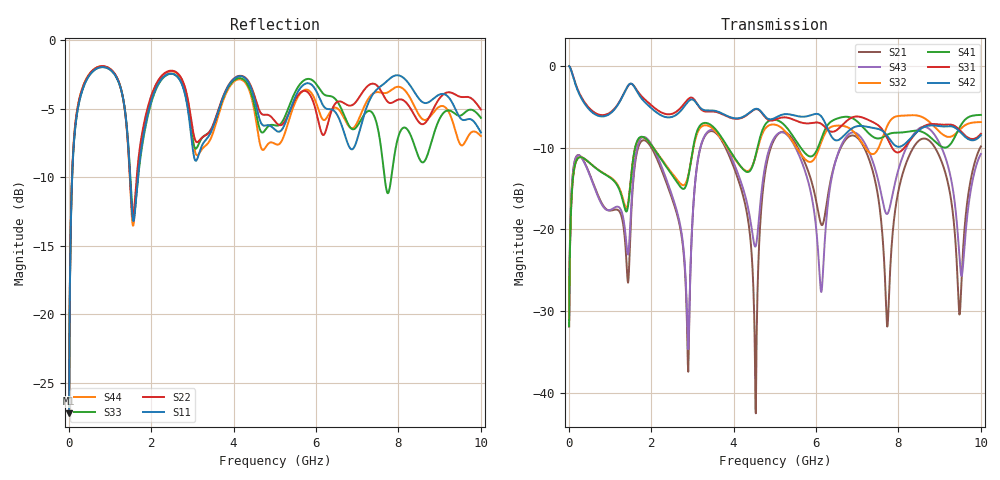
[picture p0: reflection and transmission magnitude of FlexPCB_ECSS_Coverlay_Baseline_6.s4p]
! TOUCHSTONE file generated by CST MICROWAVE STUDIO
! Date and time: Sun Jul  5 19:09:33 2026
! Project name: FlexPCB_ECSS_Coverlay_Baseline.cst
! Parameters = {Gap=0.4; GroundW=4.8; Hadh=0.025; Hcov=0.025; Hsub=0.1; L=50; Tcu=0.035; W=0.24}
! Header version: 2024
! Port assignment regex: !\s*Touchstone port\s*([0-9]+)\s*=\s*(CST MWS port|CST DES external port|CST DES block port)\s*(.+)\s* \(\"(.*)\"\)(\s*mode\s*([0-9]+))?.*
! Touchstone port assignment:
! Touchstone port 1 = CST MWS port 1 ("")
! Touchstone port 2 = CST MWS port 2 ("")
! Touchstone port 3 = CST MWS port 3 ("")
! Touchstone port 4 = CST MWS port 4 ("")
# GHz S MA R 50
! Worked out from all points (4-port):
!   1002 points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, 10 MHz to 10 GHz, reference 50 ohm
!   strongest paths, dB at 10 MHz, 2.51 GHz, 5.01 GHz, 7.503 GHz, 10 GHz:
!     S42: 0.0, -6.2, -6.3, -7.7, -8.5
!     S31: 0.0, -5.8, -6.6, -7.2, -8.3
!     S41: -31.9, -13.3, -6.6, -8.9, -6.0
!     S32: -31.9, -13.1, -7.2, -10.2, -6.9
!     S43: -31.0, -15.9, -8.6, -13.9, -10.8
!     S21: -31.0, -16.3, -8.8, -15.9, -9.8
!   lowest |S11| = -27.2 dB at 10 MHz (marker M1), VSWR 1.09, Z = 49.6 - j4.33 ohm
!   |S11| at or under -10 dB: start of sweep to 82.68 MHz; 1.49 GHz to 1.679 GHz (189.2 MHz wide, 11.9 % of centre)
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0.01  0.04361 -92.7  0.02807 84.5  0.9973 -2.9  0.02548 84.4
      0.02807 84.5  0.04491 -92.8  0.02548 84.4  0.9973 -3.0
      0.9973 -2.9  0.02548 84.4  0.04361 -92.7  0.02807 84.5
      0.02548 84.4  0.9973 -3.0  0.02807 84.5  0.04491 -92.8
1.54  0.2341 155.8  0.159 69.9  0.774 -169.2  0.2425 -104.6
      0.159 69.9  0.2351 162.6  0.2427 -106.5  0.7741 -171.2
      0.774 -169.2  0.2427 -106.5  0.2466 154.2  0.1727 61.6
      0.2425 -104.6  0.7741 -171.2  0.1727 61.6  0.2199 157.4
3.06  0.3669 166.3  0.1849 89.8  0.6167 21.3  0.3562 94.6
      0.1849 89.8  0.4361 164.0  0.3464 90.9  0.6091 23.3
      0.6167 21.3  0.3464 90.9  0.405 165.1  0.1849 87.3
      0.3562 94.6  0.6091 23.3  0.1849 87.3  0.3954 157.7
4.53  0.5908 162.6  0.008248 -128.8  0.5436 -130.7  0.2801 -65.6
      0.008248 -128.8  0.6117 163.7  0.2778 -69.7  0.5465 -131.9
      0.5436 -130.7  0.2778 -69.7  0.5553 157.3  0.07846 -164.5
      0.2801 -65.6  0.5465 -131.9  0.07846 -164.5  0.5254 152.2
4.73  0.4884 170.6  0.1915 67.1  0.4988 -158.2  0.4218 -91.8
      0.1915 67.1  0.5347 169.6  0.4003 -95.4  0.5022 -159.0
      0.4988 -158.2  0.4003 -95.4  0.4634 169.8  0.2157 84.5
      0.4218 -91.8  0.5022 -159.0  0.2157 84.5  0.3989 167.3
9.48  0.5254 163.2  0.03012 -16.9  0.4063 49.0  0.4186 113.4
      0.03012 -16.9  0.6231 171.3  0.4057 104.3  0.3985 46.4
      0.4063 49.0  0.4057 104.3  0.5304 173.5  0.0679 -158.6
      0.4186 113.4  0.3985 46.4  0.0679 -158.6  0.422 158.6
10  0.4608 165.7  0.3219 9.9  0.3846 2.3  0.502 41.9
    0.3219 9.9  0.5588 164.8  0.4538 42.0  0.3772 -0.1
    0.3846 2.3  0.4538 42.0  0.5213 163.4  0.2894 11.0
    0.502 41.9  0.3772 -0.1  0.2894 11.0  0.4474 165.5
